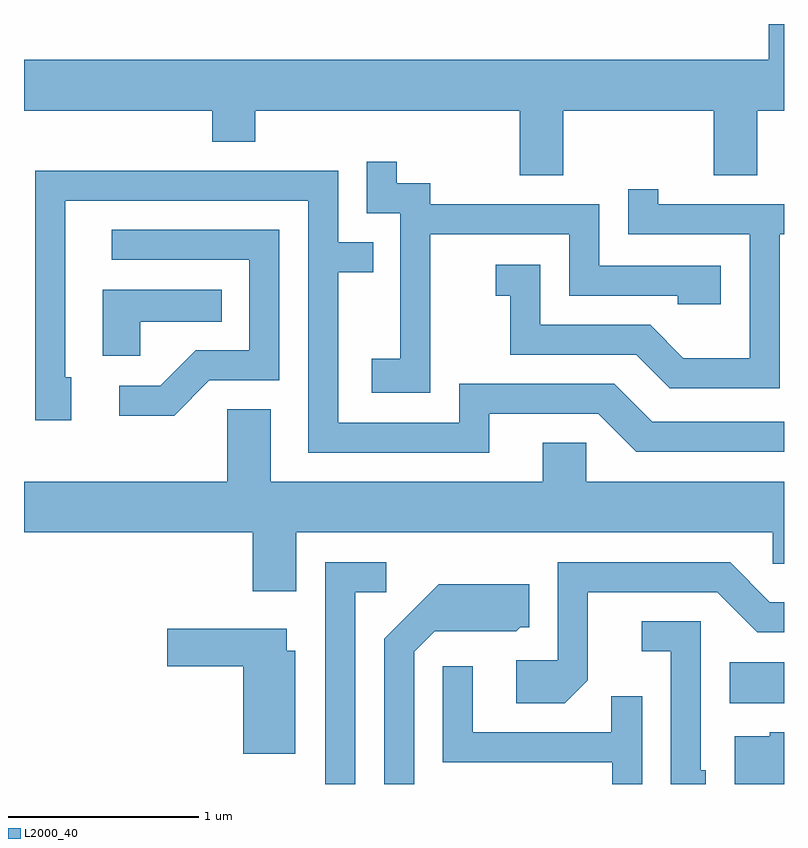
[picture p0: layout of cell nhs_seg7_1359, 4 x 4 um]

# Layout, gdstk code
import gdstk
lib = gdstk.Library(unit=1e-6, precision=1e-09)
def R(c, l, rs):  # rectangles x0, y0, x1, y1
    for r in rs: c.add(gdstk.rectangle(r[:2], r[2:], *l))
def P(c, l, *ps):  # polygons
    for p in ps: c.add(gdstk.Polygon(p, *l))
L2000_40 = (2000, 40)

nhs_seg7_1359 = lib.new_cell('nhs_seg7_1359')
R(nhs_seg7_1359, L2000_40, [(229.326,1786.676,229.611,1786.894)])
P(nhs_seg7_1359, L2000_40, [(228.449,1789.796),(229.241,1789.796),(229.241,1789.456),(229.469,1789.456),(229.469,1789.796),(229.611,1789.796),(229.611,1790.252),(229.531,1790.252),(229.531,1790.064),(225.611,1790.064),(225.611,1789.796),(226.601,1789.796),(226.601,1789.631),(226.829,1789.631),(226.829,1789.796),(228.221,1789.796),(228.221,1789.456),(228.449,1789.456)],
  [(227.749,1789.146),(228.481,1789.146),(228.481,1788.821),(229.051,1788.821),(229.051,1788.776),(229.279,1788.776),(229.279,1788.979),(228.639,1788.979),(228.639,1789.304),(227.749,1789.304),(227.749,1789.414),(227.574,1789.414),(227.574,1789.528),(227.416,1789.528),(227.416,1789.256),(227.591,1789.256),(227.591,1788.489),(227.441,1788.489),(227.441,1788.311),(227.749,1788.311)],
  [(228.059,1788.201),(228.634,1788.201),(228.834,1788.001),(229.611,1788.001),(229.611,1788.159),(228.917,1788.159),(228.717,1788.359),(227.901,1788.359),(227.901,1788.154),(227.264,1788.154),(227.264,1788.946),(227.448,1788.946),(227.448,1789.104),(227.264,1789.104),(227.264,1789.479),(225.671,1789.479),(225.671,1788.166),(225.859,1788.166),(225.859,1788.394),(225.829,1788.394),(225.829,1789.321),(227.106,1789.321),(227.106,1787.996),(228.059,1787.996)],
  [(229.589,1789.146),(229.611,1789.146),(229.611,1789.304),(228.949,1789.304),(228.949,1789.383),(228.791,1789.383),(228.791,1789.146),(229.431,1789.146),(229.431,1788.494),(229.082,1788.494),(228.907,1788.669),(228.329,1788.669),(228.329,1788.984),(228.093,1788.984),(228.093,1788.821),(228.171,1788.821),(228.171,1788.511),(228.834,1788.511),(229.009,1788.336),(229.589,1788.336)],
  [(226.587,1788.376),(226.954,1788.376),(226.954,1789.169),(226.073,1789.169),(226.073,1789.011),(226.796,1789.011),(226.796,1788.534),(226.514,1788.534),(226.329,1788.349),(226.113,1788.349),(226.113,1788.191),(226.402,1788.191)],
  [(226.224,1788.686),(226.653,1788.686),(226.653,1788.854),(226.026,1788.854),(226.026,1788.506),(226.224,1788.506)],
  [(227.044,1787.576),(229.551,1787.576),(229.551,1787.411),(229.611,1787.411),(229.611,1787.844),(228.569,1787.844),(228.569,1788.049),(228.341,1788.049),(228.341,1787.844),(226.909,1787.844),(226.909,1788.224),(226.681,1788.224),(226.681,1787.844),(225.611,1787.844),(225.611,1787.576),(226.816,1787.576),(226.816,1787.266),(227.044,1787.266)],
  [(228.579,1786.799),(228.579,1787.261),(229.259,1787.261),(229.469,1787.051),(229.611,1787.051),(229.611,1787.209),(229.537,1787.209),(229.327,1787.419),(228.421,1787.419),(228.421,1786.904),(228.201,1786.904),(228.201,1786.676),(228.457,1786.676)],
  [(227.354,1787.261),(227.518,1787.261),(227.518,1787.419),(227.196,1787.419),(227.196,1786.252),(227.354,1786.252)],
  [(227.664,1786.949),(227.772,1787.056),(228.202,1787.056),(228.222,1787.076),(228.269,1787.076),(228.269,1787.304),(227.794,1787.304),(227.506,1787.017),(227.506,1786.252),(227.664,1786.252)],
  [(229.199,1786.324),(229.174,1786.324),(229.174,1787.109),(228.863,1787.109),(228.863,1786.951),(229.016,1786.951),(229.016,1786.252),(229.199,1786.252)],
  [(227.039,1786.954),(226.994,1786.954),(226.994,1787.069),(226.366,1787.069),(226.366,1786.871),(226.766,1786.871),(226.766,1786.411),(227.039,1786.411)],
  [(228.864,1786.713),(228.701,1786.713),(228.701,1786.524),(227.974,1786.524),(227.974,1786.873),(227.816,1786.873),(227.816,1786.366),(228.706,1786.366),(228.706,1786.252),(228.864,1786.252)],
  [(229.611,1786.524),(229.536,1786.524),(229.536,1786.504),(229.351,1786.504),(229.351,1786.252),(229.611,1786.252)])

lib.write_gds('nhs_seg7_1359.gds')
